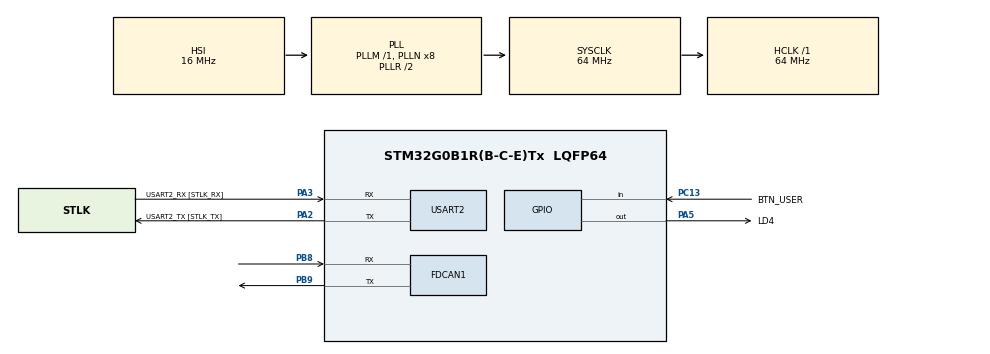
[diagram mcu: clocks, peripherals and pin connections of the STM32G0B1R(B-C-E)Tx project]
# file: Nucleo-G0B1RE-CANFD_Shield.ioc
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FDCAN1.AutoRetransmission=ENABLE
FDCAN1.CalculateBaudRateNominal=50000
FDCAN1.CalculateTimeBitNominal=20000
FDCAN1.CalculateTimeQuantumNominal=1250.0
FDCAN1.NominalPrescaler=80
FDCAN1.NominalTimeSeg1=13
FDCAN1.NominalTimeSeg2=2
FDCAN1.ProtocolException=ENABLE
Mcu.Family=STM32G0
Mcu.Name=STM32G0B1R(B-C-E)Tx
Mcu.Package=LQFP64
NVIC.TIM17_FDCAN_IT1_IRQn=true\:0\:0\:false\:false\:true\:true\:true\:true
PA2.GPIO_Label=USART2_TX [STLK_TX]
PA2.Mode=Asynchronous
PA2.Signal=USART2_TX
PA3.GPIO_Label=USART2_RX [STLK_RX]
PA3.Mode=Asynchronous
PA3.Signal=USART2_RX
PA5.GPIO_Label=LD4
PA5.GPIO_Speed=GPIO_SPEED_FREQ_HIGH
PA5.Signal=GPIO_Output
PB8.Mode=FDCAN_Activate
PB8.Signal=FDCAN1_RX
PB9.Mode=FDCAN_Activate
PB9.Signal=FDCAN1_TX
PC13.GPIO_Label=BTN_USER
PC13.Signal=GPIO_Input
ProjectManager.HeapSize=0x200
ProjectManager.StackSize=0x400
ProjectManager.TargetToolchain=STM32CubeIDE
RCC.ADCFreq_Value=64000000
RCC.AHBFreq_Value=64000000
RCC.CortexFreq_Value=64000000
RCC.EXTERNAL_CLOCK_VALUE=12288000
RCC.HCLKFreq_Value=64000000
RCC.HSE_VALUE=8000000
RCC.HSI48_VALUE=48000000
RCC.HSI_VALUE=16000000
RCC.LSE_VALUE=32768
RCC.SYSCLKFreq_VALUE=64000000
RCC.SYSCLKSource=RCC_SYSCLKSOURCE_PLLCLK
RCC.USBFreq_Value=48000000
RCC.VCOOutputFreq_Value=128000000
TIM17.Period=1000-1
TIM17.Prescaler=64 - 1
USART2.VirtualMode-Asynchronous=VM_ASYNC
VP_SYS_VS_DBSignals.Mode=DisableDeadBatterySignals
VP_TIM17_VS_ClockSourceINT.Mode=Enable_Timer
board=NUCLEO-G0B1RE

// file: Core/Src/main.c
/* USER CODE BEGIN Header */
/**
  ******************************************************************************
  * @file           : main.c
  * @brief          : Main program body
  ******************************************************************************
  * @attention
  *
  * Copyright (c) 2026 STMicroelectronics.
  * All rights reserved.
  *
  * This software is licensed under terms that can be found in the LICENSE file
  * in the root directory of this software component.
  * If no LICENSE file comes with this software, it is provided AS-IS.
  *
  ******************************************************************************
  */
/* USER CODE END Header */
#include "main.h"
#include "fdcan.h"
#include "tim.h"
#include "usart.h"
#include "gpio.h"

/* USER CODE BEGIN Includes */
#include "CO_app_STM32.h"
#include "OD.h"
#include <stdio.h>

/* USER CODE END Includes */

void SystemClock_Config(void);

/* USER CODE BEGIN 0 */
/* Timer interrupt function executes every 1 ms */
void
HAL_TIM_PeriodElapsedCallback(TIM_HandleTypeDef* htim) {
    if (htim == canopenNodeSTM32->timerHandle) {
        canopen_app_interrupt();
    }
}

/* USER CODE END 0 */

int main(void)
{

  /* MCU Configuration--------------------------------------------------------*/

  /* Reset of all peripherals, Initializes the Flash interface and the Systick. */
  HAL_Init();

  /* Configure the system clock */
  SystemClock_Config();

  /* Initialize all configured peripherals */
  MX_GPIO_Init();
  MX_FDCAN1_Init();
  MX_USART2_UART_Init();
  MX_TIM17_Init();
  /* USER CODE BEGIN 2 */
  CANopenNodeSTM32 canOpenNodeSTM32;
  canOpenNodeSTM32.CANHandle = &hfdcan1;
  canOpenNodeSTM32.HWInitFunction = MX_FDCAN1_Init;
  canOpenNodeSTM32.timerHandle = &htim17;
  canOpenNodeSTM32.desiredNodeID = 1;
  canOpenNodeSTM32.baudrate = 50;

  #ifdef DEBUG
  // Berechnung der CAN-Baudrate, siehe Reference-Manual
  log_printf("CAN PCLK1Freq: %lu Hz\n", HAL_RCC_GetPCLK1Freq());
  float tq = (float)(((canOpenNodeSTM32.CANHandle->Instance->NBTP >> 16) & 0x01FF) + 1) * 1.0/HAL_RCC_GetPCLK1Freq();  // 0x01FF: 9 Bit
  float tBS1 = (float)(((canOpenNodeSTM32.CANHandle->Instance->NBTP >> 8) & 0xFF) + 1) * tq;
  float tBS2 = (float)((canOpenNodeSTM32.CANHandle->Instance->NBTP & 0x7F) + 1) * tq;
  float baudRate = 1.0 / (tq + tBS1 + tBS2);
  log_printf("CAN baud rate (nominal bit time): %.0f bit/s\n", baudRate);

  tq = (float)(((canOpenNodeSTM32.CANHandle->Instance->DBTP >> 16) & 0x1F) + 1) * 1.0/HAL_RCC_GetPCLK1Freq();  // 0x1F: 5 Bits
  tBS1 = (float)(((canOpenNodeSTM32.CANHandle->Instance->DBTP >> 8) & 0x1F) + 1) * tq;
  tBS2 = (float)(((canOpenNodeSTM32.CANHandle->Instance->DBTP >> 4) & 0x0F) + 1) * tq;
  baudRate = 1.0 / (tq + tBS1 + tBS2);
  log_printf("CAN baud rate (data bit time): %.0f bit/s\n", baudRate);
  #endif

  canopen_app_init(&canOpenNodeSTM32);

  /* USER CODE END 2 */

  /* Infinite loop */
  /* USER CODE BEGIN WHILE */
  while (1)
  {
    OD_RAM.x2101_deviceObject1[0] += 1;
    OD_RAM.x2101_deviceObject1[1] += 2;
    OD_RAM.x2101_deviceObject1[2] += 3;
    canopen_app_process();
    HAL_Delay(20);

    /* USER CODE END WHILE */

  }
}

void SystemClock_Config(void)
{
  RCC_OscInitTypeDef RCC_OscInitStruct = {0};
  RCC_ClkInitTypeDef RCC_ClkInitStruct = {0};

  /** Configure the main internal regulator output voltage
  */
  HAL_PWREx_ControlVoltageScaling(PWR_REGULATOR_VOLTAGE_SCALE1);

  /** Initializes the RCC Oscillators according to the specified parameters
  * in the RCC_OscInitTypeDef structure.
  */
  RCC_OscInitStruct.OscillatorType = RCC_OSCILLATORTYPE_HSI;
  RCC_OscInitStruct.HSIState = RCC_HSI_ON;
  RCC_OscInitStruct.HSIDiv = RCC_HSI_DIV1;
  RCC_OscInitStruct.HSICalibrationValue = RCC_HSICALIBRATION_DEFAULT;
  RCC_OscInitStruct.PLL.PLLState = RCC_PLL_ON;
  RCC_OscInitStruct.PLL.PLLSource = RCC_PLLSOURCE_HSI;
  RCC_OscInitStruct.PLL.PLLM = RCC_PLLM_DIV1;
  RCC_OscInitStruct.PLL.PLLN = 8;
  RCC_OscInitStruct.PLL.PLLP = RCC_PLLP_DIV2;
  RCC_OscInitStruct.PLL.PLLQ = RCC_PLLQ_DIV2;
  RCC_OscInitStruct.PLL.PLLR = RCC_PLLR_DIV2;
  if (HAL_RCC_OscConfig(&RCC_OscInitStruct) != HAL_OK)
  {
    Error_Handler();
  }

  /** Initializes the CPU, AHB and APB buses clocks
  */
  RCC_ClkInitStruct.ClockType = RCC_CLOCKTYPE_HCLK|RCC_CLOCKTYPE_SYSCLK
                              |RCC_CLOCKTYPE_PCLK1;
  RCC_ClkInitStruct.SYSCLKSource = RCC_SYSCLKSOURCE_PLLCLK;
  RCC_ClkInitStruct.AHBCLKDivider = RCC_SYSCLK_DIV1;
  RCC_ClkInitStruct.APB1CLKDivider = RCC_HCLK_DIV1;

  if (HAL_RCC_ClockConfig(&RCC_ClkInitStruct, FLASH_LATENCY_2) != HAL_OK)
  {
    Error_Handler();
  }
}

void Error_Handler(void)
{
  __disable_irq();
  while (1)
  {
  }
}
